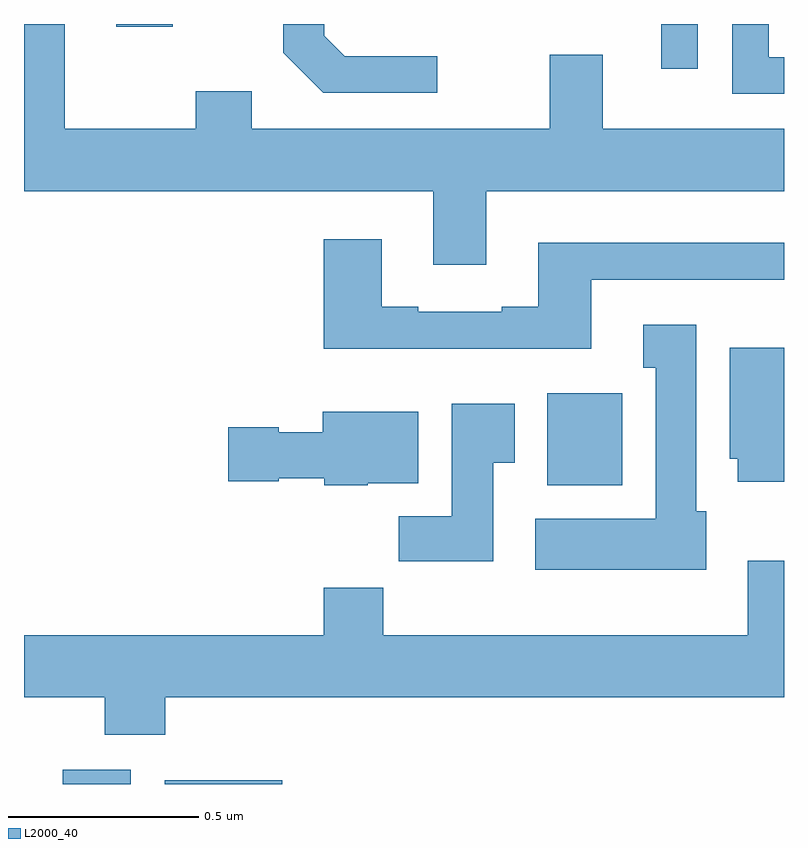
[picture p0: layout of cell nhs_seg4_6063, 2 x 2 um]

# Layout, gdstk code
import gdstk
lib = gdstk.Library(unit=1e-6, precision=1e-09)
def R(c, l, rs):  # rectangles x0, y0, x1, y1
    for r in rs: c.add(gdstk.rectangle(r[:2], r[2:], *l))
def P(c, l, *ps):  # polygons
    for p in ps: c.add(gdstk.Polygon(p, *l))
L2000_40 = (2000, 40)

nhs_seg4_6063 = lib.new_cell('nhs_seg4_6063')
R(nhs_seg4_6063, L2000_40, [(185.102,821.9,185.281,821.938), (185.37,821.9,185.68,821.91), (186.377,822.686,186.574,822.928), (186.677,823.782,186.773,823.9), (185.243,823.893,185.392,823.9)])
P(nhs_seg4_6063, L2000_40, [(186.217,823.46),(187,823.46),(187,823.624),(186.523,823.624),(186.523,823.819),(186.383,823.819),(186.383,823.624),(185.599,823.624),(185.599,823.723),(185.452,823.723),(185.452,823.624),(185.107,823.624),(185.107,823.9),(185,823.9),(185,823.46),(186.077,823.46),(186.077,823.266),(186.217,823.266)],
  [(187,823.812),(186.96,823.812),(186.96,823.9),(186.864,823.9),(186.864,823.716),(187,823.716)],
  [(186.088,823.815),(185.844,823.815),(185.79,823.869),(185.79,823.9),(185.682,823.9),(185.682,823.825),(185.787,823.719),(186.088,823.719)],
  [(186.493,823.227),(187,823.227),(187,823.324),(186.353,823.324),(186.353,823.156),(186.257,823.156),(186.257,823.143),(186.037,823.143),(186.037,823.156),(185.941,823.156),(185.941,823.333),(185.789,823.333),(185.789,823.046),(186.493,823.046)],
  [(186.796,822.618),(186.769,822.618),(186.769,823.108),(186.629,823.108),(186.629,822.995),(186.662,822.995),(186.662,822.598),(186.345,822.598),(186.345,822.464),(186.796,822.464)],
  [(187,823.048),(186.857,823.048),(186.857,822.756),(186.878,822.756),(186.878,822.696),(187,822.696)],
  [(186.235,822.745),(186.292,822.745),(186.292,822.901),(186.125,822.901),(186.125,822.604),(185.986,822.604),(185.986,822.486),(186.235,822.486)],
  [(185.904,822.692),(186.037,822.692),(186.037,822.88),(185.786,822.88),(185.786,822.826),(185.67,822.826),(185.67,822.839),(185.538,822.839),(185.538,822.697),(185.67,822.697),(185.67,822.704),(185.79,822.704),(185.79,822.686),(185.904,822.686)],
  [(185.372,822.128),(187,822.128),(187,822.487),(186.905,822.487),(186.905,822.292),(185.945,822.292),(185.945,822.416),(185.789,822.416),(185.789,822.292),(185,822.292),(185,822.128),(185.212,822.128),(185.212,822.029),(185.372,822.029)])

lib.write_gds('nhs_seg4_6063.gds')
